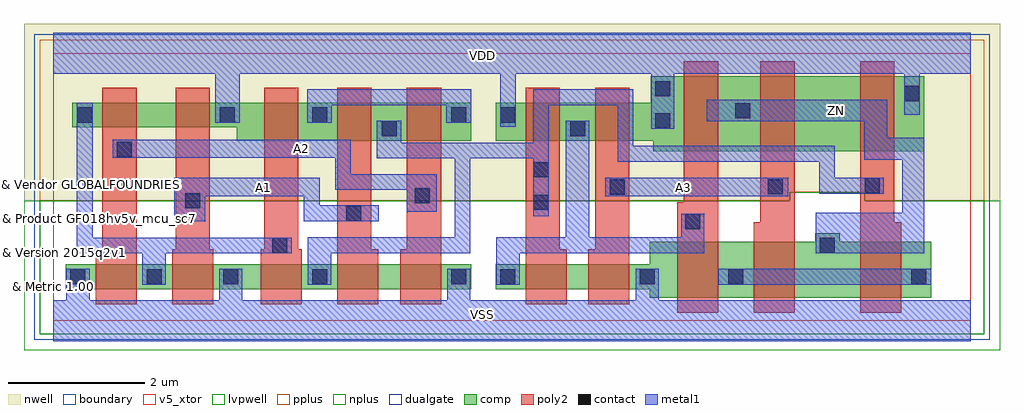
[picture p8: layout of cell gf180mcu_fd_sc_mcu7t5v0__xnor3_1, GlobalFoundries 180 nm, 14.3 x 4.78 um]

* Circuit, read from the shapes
.subckt gf180mcu_fd_sc_mcu7t5v0__xnor3_1 A1 A2 A3 VDD VSS ZN
XM1 n1 A2 VSS VSUBS nfet_05v0 w=0.36u l=0.6u
XM2 VSS A1 n1 VSUBS nfet_05v0 w=0.36u l=0.6u
XM3 n2 n1 VSS VSUBS nfet_05v0 w=0.36u l=0.6u
XM4 n3 A1 n2 VSUBS nfet_05v0 w=0.36u l=0.6u
XM5 VSS A2 n3 VSUBS nfet_05v0 w=0.36u l=0.6u
XM6 n4 n2 n5 VSUBS nfet_05v0 w=0.36u l=0.6u
XM7 VSS A3 n4 VSUBS nfet_05v0 w=0.36u l=0.6u
XM8 n6 n5 VSS VSUBS nfet_05v0 w=0.82u l=0.6u
XM9 ZN A3 n6 VSUBS nfet_05v0 w=0.82u l=0.6u
XM10 n6 n2 ZN VSUBS nfet_05v0 w=0.82u l=0.6u
XM11 n7 A2 n1 n8 pfet_05v0 w=0.36u l=0.5u
XM12 VDD A1 n7 n8 pfet_05v0 w=0.36u l=0.5u
XM13 n9 n1 VDD n8 pfet_05v0 w=0.56u l=0.5u
XM14 n2 A1 n9 n8 pfet_05v0 w=0.56u l=0.5u
XM15 n9 A2 n2 n8 pfet_05v0 w=0.56u l=0.5u
XM16 n5 n2 VDD n8 pfet_05v0 w=0.56u l=0.5u
XM17 VDD A3 n5 n8 pfet_05v0 w=0.56u l=0.5u
XM18 ZN n5 VDD n8 pfet_05v0 w=1.095u l=0.5u
XM19 n10 A3 ZN n8 pfet_05v0 w=1.095u l=0.5u
XM20 VDD n2 n10 n8 pfet_05v0 w=1.095u l=0.5u
.ends

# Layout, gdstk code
import gdstk
lib = gdstk.Library(unit=1e-6, precision=1e-09)
def R(c, l, rs):  # rectangles x0, y0, x1, y1
    for r in rs: c.add(gdstk.rectangle(r[:2], r[2:], *l))
def A(c, l, x, y, w, h, nx, ny, dx, dy):  # array of equal rectangles
    R(c, l, [(x+i*dx, y+j*dy, x+i*dx+w, y+j*dy+h) for i in range(nx) for j in range(ny)])
def P(c, l, *ps):  # polygons
    for p in ps: c.add(gdstk.Polygon(p, *l))
boundary = (0, 0)
nwell = (21, 0)
comp = (22, 0)
poly2 = (30, 0)
pplus = (31, 0)
nplus = (32, 0)
contact = (33, 0)
metal1 = (34, 0)
dualgate = (55, 0)
v5_xtor = (112, 1)
lvpwell = (204, 0)

gf180mcu_fd_sc_mcu7t5v0_ = lib.new_cell('gf180mcu_fd_sc_mcu7t5v0__xnor3_1')
R(gf180mcu_fd_sc_mcu7t5v0_, boundary, [(0,0,13.44,3.92)])
P(gf180mcu_fd_sc_mcu7t5v0_, nwell, [(-0.43,1.76),(-0.43,4.35),(13.87,4.35),(13.87,1.76),(11.89,1.76),(11.89,1.885),(10.79,1.885),(10.79,1.76)])
R(gf180mcu_fd_sc_mcu7t5v0_, comp, [(0.18,0.465,6.12,0.825)])
P(gf180mcu_fd_sc_mcu7t5v0_, comp, [(2.69,2.635),(2.69,2.835),(0.28,2.835),(0.28,3.195),(6.12,3.195),(6.12,2.635)],
  [(8.79,2.485),(8.79,2.635),(6.48,2.635),(6.48,3.195),(8.75,3.195),(8.75,3.58),(12.76,3.58),(12.76,2.485)],
  [(8.74,0.34),(8.74,0.465),(6.48,0.465),(6.48,0.825),(8.74,0.825),(8.74,1.16),(11.16,1.16),(11.16,1.285),(11.52,1.285),(11.52,1.16),(12.86,1.16),(12.86,0.34)])
P(gf180mcu_fd_sc_mcu7t5v0_, poly2, [(0.62,0.245),(0.62,1.045),(0.72,1.045),(0.72,3.415),(1.22,3.415),(1.22,0.245)],
  [(1.74,0.245),(1.74,1.045),(1.79,1.045),(1.79,3.415),(2.29,3.415),(2.29,1.045),(2.34,1.045),(2.34,0.245)],
  [(3.04,0.245),(3.04,1.045),(3.09,1.045),(3.09,3.415),(3.59,3.415),(3.59,1.045),(3.64,1.045),(3.64,0.245)],
  [(4.16,0.245),(4.16,3.415),(4.66,3.415),(4.66,1.045),(4.76,1.045),(4.76,0.245)],
  [(5.08,0.245),(5.08,1.045),(5.18,1.045),(5.18,3.415),(5.68,3.415),(5.68,0.245)],
  [(6.92,0.245),(6.92,3.415),(7.42,3.415),(7.42,1.045),(7.52,1.045),(7.52,0.245)],
  [(7.84,0.245),(7.84,1.045),(7.94,1.045),(7.94,3.415),(8.44,3.415),(8.44,0.245)],
  [(9.14,0.12),(9.14,1.74),(9.24,1.74),(9.24,3.8),(9.74,3.8),(9.74,0.12)],
  [(10.26,0.12),(10.26,1.44),(10.36,1.44),(10.36,3.8),(10.86,3.8),(10.86,0.12)],
  [(11.82,0.12),(11.82,3.8),(12.32,3.8),(12.32,1.44),(12.42,1.44),(12.42,0.12)])
P(gf180mcu_fd_sc_mcu7t5v0_, pplus, [(-0.2,1.76),(-0.2,4.12),(13.64,4.12),(13.64,1.76),(11.89,1.76),(11.89,1.885),(10.79,1.885),(10.79,1.76)])
P(gf180mcu_fd_sc_mcu7t5v0_, nplus, [(-0.2,-0.2),(-0.2,1.76),(10.79,1.76),(10.79,1.885),(11.89,1.885),(11.89,1.76),(13.64,1.76),(13.64,-0.2)])
A(gf180mcu_fd_sc_mcu7t5v0_, contact, 0.25, 0.535, 0.22, 0.22, 3, 1, 1.12, 0)
R(gf180mcu_fd_sc_mcu7t5v0_, contact, [(3.79,0.535,4.01,0.755), (5.83,0.535,6.05,0.755), (6.55,0.535,6.77,0.755), (8.59,0.535,8.81,0.755), (9.89,0.535,10.11,0.755), (12.57,0.535,12.79,0.755), (3.205,0.995,3.425,1.215), (11.23,0.995,11.45,1.215), (9.26,1.34,9.48,1.56), (4.29,1.465,4.51,1.685), (7.035,1.63,7.255,1.85), (1.935,1.65,2.155,1.87), (5.295,1.725,5.515,1.945), (8.15,1.85,8.37,2.07), (10.47,1.855,10.69,2.075), (11.89,1.87,12.11,2.09), (7.035,2.1,7.255,2.32), (0.93,2.405,1.15,2.625), (4.81,2.705,5.03,2.925), (7.57,2.705,7.79,2.925), (8.82,2.82,9.04,3.04), (0.35,2.905,0.57,3.125), (2.44,2.905,2.66,3.125), (3.79,2.905,4.01,3.125), (5.83,2.905,6.05,3.125), (6.55,2.905,6.77,3.125), (9.99,2.97,10.21,3.19), (12.47,3.22,12.69,3.44), (8.82,3.29,9.04,3.51)])
R(gf180mcu_fd_sc_mcu7t5v0_, metal1, [(9.74,0.53,12.86,0.76), (8.085,1.825,10.765,2.095)])
P(gf180mcu_fd_sc_mcu7t5v0_, metal1, [(1.305,0.53),(1.305,0.99),(0.345,0.99),(0.345,3.195),(0.575,3.195),(0.575,1.22),(3.495,1.22),(3.495,0.99),(1.65,0.99),(1.65,0.53)],
  [(1.77,1.455),(1.77,2.095),(3.9,2.095),(3.9,1.69),(4.77,1.69),(4.77,1.455),(3.67,1.455),(3.67,1.825),(2.225,1.825),(2.225,1.455)],
  [(5.175,1.595),(5.175,1.92),(4.13,1.92),(4.13,2.385),(0.87,2.385),(0.87,2.655),(4.36,2.655),(4.36,2.15),(5.62,2.15),(5.62,1.595)],
  [(3.72,2.9),(3.72,3.39),(6.12,3.39),(6.12,2.9),(5.76,2.9),(5.76,3.16),(4.08,3.16),(4.08,2.9)],
  [(6.49,0.53),(6.49,1.225),(7.51,1.225),(7.51,2.93),(7.85,2.93),(7.85,1.225),(9.2,1.225),(9.2,1.565),(9.54,1.565),(9.54,0.99),(6.83,0.99),(6.83,0.53)],
  [(3.73,0.53),(3.73,1.225),(5.88,1.225),(5.88,2.38),(4.74,2.38),(4.74,2.93),(5.1,2.93),(5.1,2.61),(7.03,2.61),(7.03,3.39),(8.5,3.39),(8.5,2.565),(11.45,2.565),(11.45,2.095),(12.17,2.095),(12.17,1.86),(11.22,1.86),(11.22,2.33),(8.27,2.33),(8.27,3.16),(7.26,3.16),(7.26,1.535),(7.03,1.535),(7.03,2.38),(6.11,2.38),(6.11,0.99),(4.07,0.99),(4.07,0.53)],
  [(11.17,0.99),(11.17,1.58),(12.44,1.58),(12.44,2.36),(11.88,2.36),(11.88,2.92),(9.57,2.92),(9.57,3.24),(12.215,3.24),(12.215,2.68),(12.76,2.68),(12.76,0.99)],
  [(0,-0.3),(0,0.3),(0.19,0.3),(0.19,0.76),(0.53,0.76),(0.53,0.3),(2.43,0.3),(2.43,0.76),(2.77,0.76),(2.77,0.3),(5.77,0.3),(5.77,0.76),(6.11,0.76),(6.11,0.3),(8.53,0.3),(8.53,0.76),(8.87,0.76),(8.87,0.3),(13.44,0.3),(13.44,-0.3)],
  [(8.76,2.815),(8.76,3.62),(6.775,3.62),(6.775,2.84),(6.545,2.84),(6.545,3.62),(2.73,3.62),(2.73,2.9),(2.37,2.9),(2.37,3.62),(0,3.62),(0,4.22),(13.44,4.22),(13.44,3.62),(12.695,3.62),(12.695,3.015),(12.465,3.015),(12.465,3.62),(9.1,3.62),(9.1,2.815)])
R(gf180mcu_fd_sc_mcu7t5v0_, dualgate, [(-0.28,-0.28,13.72,4.2)])
R(gf180mcu_fd_sc_mcu7t5v0_, v5_xtor, [(0,0,13.44,3.92)])
P(gf180mcu_fd_sc_mcu7t5v0_, lvpwell, [(-0.43,-0.43),(-0.43,1.76),(10.79,1.76),(10.79,1.885),(11.89,1.885),(11.89,1.76),(13.87,1.76),(13.87,-0.43)])
gf180mcu_fd_sc_mcu7t5v0_.add(gdstk.Label('A3', (9.24,1.96), layer=34, texttype=10))
gf180mcu_fd_sc_mcu7t5v0_.add(gdstk.Label('VDD', (6.285,3.885), layer=34, texttype=10))
gf180mcu_fd_sc_mcu7t5v0_.add(gdstk.Label('VSS', (6.285,0.095), layer=34, texttype=10))
gf180mcu_fd_sc_mcu7t5v0_.add(gdstk.Label('ZN', (11.48,3.08), layer=34, texttype=10))
gf180mcu_fd_sc_mcu7t5v0_.add(gdstk.Label('A1', (3.08,1.96), layer=34, texttype=10))
gf180mcu_fd_sc_mcu7t5v0_.add(gdstk.Label('A2', (3.64,2.52), layer=34, texttype=10))
gf180mcu_fd_sc_mcu7t5v0_.add(gdstk.Label('& Vendor GLOBALFOUNDRIES', (0,2), layer=63, texttype=63))
gf180mcu_fd_sc_mcu7t5v0_.add(gdstk.Label('& Product GF018hv5v_mcu_sc7', (0,1.5), layer=63, texttype=63))
gf180mcu_fd_sc_mcu7t5v0_.add(gdstk.Label('& Version 2015q2v1', (0,1), layer=63, texttype=63))
gf180mcu_fd_sc_mcu7t5v0_.add(gdstk.Label('& Metric 1.00', (0,0.5), layer=63, texttype=63))

lib.write_gds('gf180mcu_fd_sc_mcu7t5v0__xnor3_1.gds')
